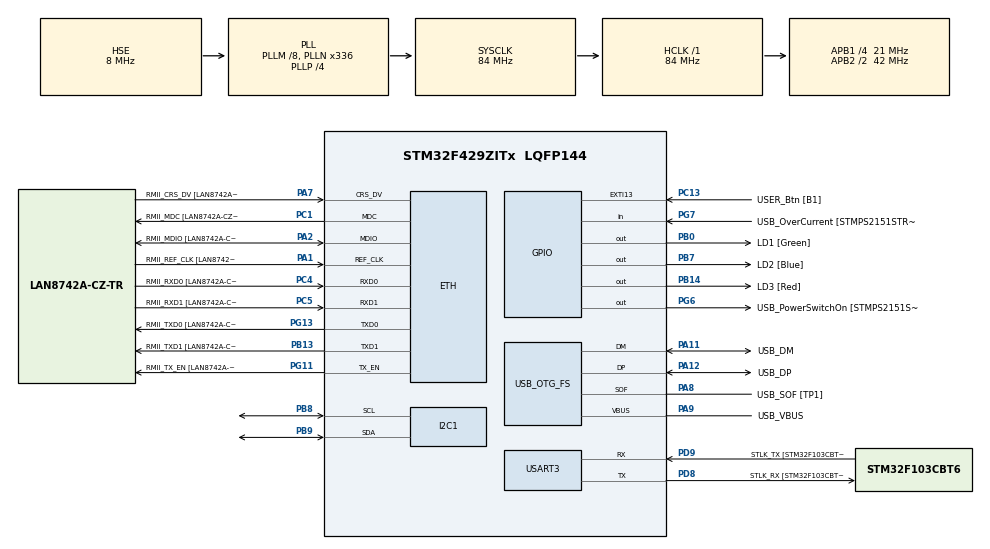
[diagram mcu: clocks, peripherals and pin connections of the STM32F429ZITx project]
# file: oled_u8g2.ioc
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Dma.I2C1_RX.1.Direction=DMA_PERIPH_TO_MEMORY
Dma.I2C1_RX.1.FIFOMode=DMA_FIFOMODE_DISABLE
Dma.I2C1_RX.1.Instance=DMA1_Stream5
Dma.I2C1_RX.1.MemDataAlignment=DMA_MDATAALIGN_BYTE
Dma.I2C1_RX.1.MemInc=DMA_MINC_ENABLE
Dma.I2C1_RX.1.Mode=DMA_NORMAL
Dma.I2C1_RX.1.PeriphDataAlignment=DMA_PDATAALIGN_BYTE
Dma.I2C1_RX.1.PeriphInc=DMA_PINC_DISABLE
Dma.I2C1_RX.1.Priority=DMA_PRIORITY_LOW
Dma.I2C1_TX.0.Direction=DMA_MEMORY_TO_PERIPH
Dma.I2C1_TX.0.FIFOMode=DMA_FIFOMODE_DISABLE
Dma.I2C1_TX.0.Instance=DMA1_Stream7
Dma.I2C1_TX.0.MemDataAlignment=DMA_MDATAALIGN_BYTE
Dma.I2C1_TX.0.MemInc=DMA_MINC_ENABLE
Dma.I2C1_TX.0.Mode=DMA_NORMAL
Dma.I2C1_TX.0.PeriphDataAlignment=DMA_PDATAALIGN_BYTE
Dma.I2C1_TX.0.PeriphInc=DMA_PINC_DISABLE
Dma.I2C1_TX.0.Priority=DMA_PRIORITY_LOW
Dma.Request0=I2C1_TX
Dma.Request1=I2C1_RX
ETH.MediaInterface=HAL_ETH_RMII_MODE
ETH.PHY_Name=LAN8742A_PHY_ADDRESS
ETH.PHY_Value=0
ETH.PhyAddress=0
I2C1.I2C_Mode=I2C_Fast
Mcu.Family=STM32F4
Mcu.Name=STM32F429ZITx
Mcu.Package=LQFP144
NVIC.DMA1_Stream5_IRQn=true\:0\:0\:false\:false\:true\:false\:true\:true
NVIC.DMA1_Stream7_IRQn=true\:0\:0\:false\:false\:true\:false\:true\:true
NVIC.I2C1_ER_IRQn=true\:0\:0\:false\:false\:true\:true\:true\:true
NVIC.I2C1_EV_IRQn=true\:0\:0\:false\:false\:true\:true\:true\:true
NVIC.PriorityGroup=NVIC_PRIORITYGROUP_4
PA1.GPIO_Label=RMII_REF_CLK [LAN8742A-CZ-TR_REFCLK0]
PA1.Mode=RMII
PA1.Signal=ETH_REF_CLK
PA10.GPIO_Label=USB_ID
PA10.Signal=USB_OTG_FS_ID
PA11.GPIO_Label=USB_DM
PA11.Mode=Device_Only
PA11.Signal=USB_OTG_FS_DM
PA12.GPIO_Label=USB_DP
PA12.Mode=Device_Only
PA12.Signal=USB_OTG_FS_DP
PA13.GPIO_Label=TMS
PA13.Mode=Serial_Wire
PA13.Signal=SYS_JTMS-SWDIO
PA14.GPIO_Label=TCK
PA14.Mode=Serial_Wire
PA14.Signal=SYS_JTCK-SWCLK
PA2.GPIO_Label=RMII_MDIO [LAN8742A-CZ-TR_MDIO]
PA2.Mode=RMII
PA2.Signal=ETH_MDIO
PA7.GPIO_Label=RMII_CRS_DV [LAN8742A-CZ-TR_CRS_DV]
PA7.Mode=RMII
PA7.Signal=ETH_CRS_DV
PA8.GPIO_Label=USB_SOF [TP1]
PA8.Mode=Activate_SOF_FS
PA8.Signal=USB_OTG_FS_SOF
PA9.GPIO_Label=USB_VBUS
PA9.Mode=Activate_VBUS
PA9.Signal=USB_OTG_FS_VBUS
PB0.GPIO_Label=LD1 [Green]
PB0.Signal=GPIO_Output
PB13.GPIO_Label=RMII_TXD1 [LAN8742A-CZ-TR_TXD1]
PB13.Mode=RMII
PB13.Signal=ETH_TXD1
PB14.GPIO_Label=LD3 [Red]
PB14.Signal=GPIO_Output
PB7.GPIO_Label=LD2 [Blue]
PB7.Signal=GPIO_Output
PB8.Mode=I2C
PB8.Signal=I2C1_SCL
PB9.Mode=I2C
PB9.Signal=I2C1_SDA
PC1.GPIO_Label=RMII_MDC [LAN8742A-CZ-TR_MDC]
PC1.Mode=RMII
PC1.Signal=ETH_MDC
PC13.GPIO_Label=USER_Btn [B1]
PC13.Signal=GPXTI13
PC14/OSC32_IN.Mode=LSE-External-Oscillator
PC14/OSC32_IN.Signal=RCC_OSC32_IN
PC15/OSC32_OUT.Mode=LSE-External-Oscillator
PC15/OSC32_OUT.Signal=RCC_OSC32_OUT
PC4.GPIO_Label=RMII_RXD0 [LAN8742A-CZ-TR_RXD0]
PC4.Mode=RMII
PC4.Signal=ETH_RXD0
PC5.GPIO_Label=RMII_RXD1 [LAN8742A-CZ-TR_RXD1]
PC5.Mode=RMII
PC5.Signal=ETH_RXD1
PD8.GPIO_Label=STLK_RX [STM32F103CBT6_PA3]
PD8.Mode=Asynchronous
PD8.Signal=USART3_TX
PD9.GPIO_Label=STLK_TX [STM32F103CBT6_PA2]
PD9.Mode=Asynchronous
PD9.Signal=USART3_RX
PG11.GPIO_Label=RMII_TX_EN [LAN8742A-CZ-TR_TXEN]
PG11.Mode=RMII
PG11.Signal=ETH_TX_EN
PG13.GPIO_Label=RMII_TXD0 [LAN8742A-CZ-TR_TXD0]
PG13.Mode=RMII
PG13.Signal=ETH_TXD0
PG6.GPIO_Label=USB_PowerSwitchOn [STMPS2151STR_EN]
PG6.Signal=GPIO_Output
PG7.GPIO_Label=USB_OverCurrent [STMPS2151STR_FAULT]
PG7.Signal=GPIO_Input
PH0/OSC_IN.GPIO_Label=MCO [STM32F103CBT6_PA8]
PH0/OSC_IN.Mode=HSE-External-Clock-Source
PH0/OSC_IN.Signal=RCC_OSC_IN
PH1/OSC_OUT.Mode=HSE-External-Clock-Source
PH1/OSC_OUT.Signal=RCC_OSC_OUT
ProjectManager.HeapSize=0x200
ProjectManager.StackSize=0x400
ProjectManager.TargetToolchain=STM32CubeIDE
RCC.48MHZClocksFreq_Value=48000000
RCC.AHBFreq_Value=84000000
RCC.APB1CLKDivider=RCC_HCLK_DIV4
RCC.APB1Freq_Value=21000000
RCC.APB1TimFreq_Value=42000000
RCC.APB2CLKDivider=RCC_HCLK_DIV2
RCC.APB2Freq_Value=42000000
RCC.APB2TimCLKDivider=2
RCC.APB2TimFreq_Value=84000000
RCC.CortexFreq_Value=84000000
RCC.HCLKFreq_Value=84000000
RCC.HSE_VALUE=8000000
RCC.HSI_VALUE=16000000
RCC.PLLM=8
RCC.PLLMUL=RCC_PLL_MUL9
RCC.PLLN=336
RCC.PLLP=RCC_PLLP_DIV4
RCC.PLLQ=7
RCC.PRESCALERUSB=RCC_USBCLKSOURCE_PLL_DIV1_5
RCC.SYSCLKFreq_VALUE=84000000
RCC.SYSCLKSource=RCC_SYSCLKSOURCE_PLLCLK
RCC.SYSCLKSourceVirtual=RCC_SYSCLKSOURCE_PLLCLK
RCC.USBFreq_Value=48000000
RCC.VCOOutputFreq_Value=336000000
USART3.VirtualMode=VM_ASYNC
USB_OTG_FS.VirtualMode=Device_Only
board=NUCLEO-F429ZI

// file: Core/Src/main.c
/* USER CODE BEGIN Header */
/**
  ******************************************************************************
  * @file           : main.c
  * @brief          : Main program body
  ******************************************************************************
  * @attention
  *
  * Copyright (c) 2023 STMicroelectronics.
  * All rights reserved.
  *
  * This software is licensed under terms that can be found in the LICENSE file
  * in the root directory of this software component.
  * If no LICENSE file comes with this software, it is provided AS-IS.
  *
  ******************************************************************************
  */
/* USER CODE END Header */
#include "main.h"
#include "string.h"

/* USER CODE BEGIN Includes */
#include "u8g2.h"
#include "u8x8.h"
#include "u8g2_stm32.h"
#include <stdio.h>

/* USER CODE END Includes */

ETH_TxPacketConfig TxConfig;
ETH_DMADescTypeDef  DMARxDscrTab[ETH_RX_DESC_CNT]; /* Ethernet Rx DMA Descriptors */
ETH_DMADescTypeDef  DMATxDscrTab[ETH_TX_DESC_CNT]; /* Ethernet Tx DMA Descriptors */

ETH_HandleTypeDef heth;

I2C_HandleTypeDef hi2c1;
DMA_HandleTypeDef hdma_i2c1_tx;
DMA_HandleTypeDef hdma_i2c1_rx;

UART_HandleTypeDef huart3;

PCD_HandleTypeDef hpcd_USB_OTG_FS;

/* USER CODE BEGIN PV */
u8g2_t u8g2;
/* USER CODE END PV */

void SystemClock_Config(void);
static void MX_GPIO_Init(void);
static void MX_DMA_Init(void);
static void MX_ETH_Init(void);
static void MX_USART3_UART_Init(void);
static void MX_USB_OTG_FS_PCD_Init(void);
static void MX_I2C1_Init(void);

int main(void)
{
  /* USER CODE BEGIN 1 */
int32_t i = 0;
int8_t str[32];
  /* USER CODE END 1 */

  /* MCU Configuration--------------------------------------------------------*/

  /* Reset of all peripherals, Initializes the Flash interface and the Systick. */
  HAL_Init();

  /* Configure the system clock */
  SystemClock_Config();

  /* Initialize all configured peripherals */
  MX_GPIO_Init();
  MX_DMA_Init();
  MX_ETH_Init();
  MX_USART3_UART_Init();
  MX_USB_OTG_FS_PCD_Init();
  MX_I2C1_Init();
  /* USER CODE BEGIN 2 */
u8g2stm32_init(&u8g2);
  /* USER CODE END 2 */

  /* Infinite loop */
  while (1)
  {

    /* USER CODE BEGIN 3 */
	  u8g2_ClearBuffer(&u8g2);
	  u8g2_SetFontMode(&u8g2, 1);
	  u8g2_SetFontDirection(&u8g2, 0);

	  u8g2_SetFont(&u8g2, u8g2_font_cu12_hf);
	  u8g2_DrawStr(&u8g2, 5, 15, "Hello OLED");

	  u8g2_SetFont(&u8g2, u8g2_font_unifont_t_korean1);
	  u8g2_DrawUTF8(&u8g2, 5 , 35 ,"안녕 하세요");

	  sprintf(str, "%d", i++);
	  u8g2_DrawStr(&u8g2, 5 , 55, str);
	  u8g2_SendBuffer(&u8g2);
	  HAL_Delay(1000);
  }
  /* USER CODE END 3 */
}

void SystemClock_Config(void)
{
  RCC_OscInitTypeDef RCC_OscInitStruct = {0};
  RCC_ClkInitTypeDef RCC_ClkInitStruct = {0};

  /** Configure the main internal regulator output voltage
  */
  __HAL_RCC_PWR_CLK_ENABLE();
  __HAL_PWR_VOLTAGESCALING_CONFIG(PWR_REGULATOR_VOLTAGE_SCALE3);

  /** Initializes the RCC Oscillators according to the specified parameters
  * in the RCC_OscInitTypeDef structure.
  */
  RCC_OscInitStruct.OscillatorType = RCC_OSCILLATORTYPE_HSE;
  RCC_OscInitStruct.HSEState = RCC_HSE_BYPASS;
  RCC_OscInitStruct.PLL.PLLState = RCC_PLL_ON;
  RCC_OscInitStruct.PLL.PLLSource = RCC_PLLSOURCE_HSE;
  RCC_OscInitStruct.PLL.PLLM = 8;
  RCC_OscInitStruct.PLL.PLLN = 336;
  RCC_OscInitStruct.PLL.PLLP = RCC_PLLP_DIV4;
  RCC_OscInitStruct.PLL.PLLQ = 7;
  if (HAL_RCC_OscConfig(&RCC_OscInitStruct) != HAL_OK)
  {
    Error_Handler();
  }

  /** Initializes the CPU, AHB and APB buses clocks
  */
  RCC_ClkInitStruct.ClockType = RCC_CLOCKTYPE_HCLK|RCC_CLOCKTYPE_SYSCLK
                              |RCC_CLOCKTYPE_PCLK1|RCC_CLOCKTYPE_PCLK2;
  RCC_ClkInitStruct.SYSCLKSource = RCC_SYSCLKSOURCE_PLLCLK;
  RCC_ClkInitStruct.AHBCLKDivider = RCC_SYSCLK_DIV1;
  RCC_ClkInitStruct.APB1CLKDivider = RCC_HCLK_DIV4;
  RCC_ClkInitStruct.APB2CLKDivider = RCC_HCLK_DIV2;

  if (HAL_RCC_ClockConfig(&RCC_ClkInitStruct, FLASH_LATENCY_2) != HAL_OK)
  {
    Error_Handler();
  }
}

static void MX_ETH_Init(void)
{

   static uint8_t MACAddr[6];

  heth.Instance = ETH;
  MACAddr[0] = 0x00;
  MACAddr[1] = 0x80;
  MACAddr[2] = 0xE1;
  MACAddr[3] = 0x00;
  MACAddr[4] = 0x00;
  MACAddr[5] = 0x00;
  heth.Init.MACAddr = &MACAddr[0];
  heth.Init.MediaInterface = HAL_ETH_RMII_MODE;
  heth.Init.TxDesc = DMATxDscrTab;
  heth.Init.RxDesc = DMARxDscrTab;
  heth.Init.RxBuffLen = 1524;

  if (HAL_ETH_Init(&heth) != HAL_OK)
  {
    Error_Handler();
  }

  memset(&TxConfig, 0 , sizeof(ETH_TxPacketConfig));
  TxConfig.Attributes = ETH_TX_PACKETS_FEATURES_CSUM | ETH_TX_PACKETS_FEATURES_CRCPAD;
  TxConfig.ChecksumCtrl = ETH_CHECKSUM_IPHDR_PAYLOAD_INSERT_PHDR_CALC;
  TxConfig.CRCPadCtrl = ETH_CRC_PAD_INSERT;

}

static void MX_I2C1_Init(void)
{

  hi2c1.Instance = I2C1;
  hi2c1.Init.ClockSpeed = 400000;
  hi2c1.Init.DutyCycle = I2C_DUTYCYCLE_2;
  hi2c1.Init.OwnAddress1 = 0;
  hi2c1.Init.AddressingMode = I2C_ADDRESSINGMODE_7BIT;
  hi2c1.Init.DualAddressMode = I2C_DUALADDRESS_DISABLE;
  hi2c1.Init.OwnAddress2 = 0;
  hi2c1.Init.GeneralCallMode = I2C_GENERALCALL_DISABLE;
  hi2c1.Init.NoStretchMode = I2C_NOSTRETCH_DISABLE;
  if (HAL_I2C_Init(&hi2c1) != HAL_OK)
  {
    Error_Handler();
  }

  /** Configure Analogue filter
  */
  if (HAL_I2CEx_ConfigAnalogFilter(&hi2c1, I2C_ANALOGFILTER_ENABLE) != HAL_OK)
  {
    Error_Handler();
  }

  /** Configure Digital filter
  */
  if (HAL_I2CEx_ConfigDigitalFilter(&hi2c1, 0) != HAL_OK)
  {
    Error_Handler();
  }

}

static void MX_USART3_UART_Init(void)
{

  huart3.Instance = USART3;
  huart3.Init.BaudRate = 115200;
  huart3.Init.WordLength = UART_WORDLENGTH_8B;
  huart3.Init.StopBits = UART_STOPBITS_1;
  huart3.Init.Parity = UART_PARITY_NONE;
  huart3.Init.Mode = UART_MODE_TX_RX;
  huart3.Init.HwFlowCtl = UART_HWCONTROL_NONE;
  huart3.Init.OverSampling = UART_OVERSAMPLING_16;
  if (HAL_UART_Init(&huart3) != HAL_OK)
  {
    Error_Handler();
  }

}

static void MX_USB_OTG_FS_PCD_Init(void)
{

  hpcd_USB_OTG_FS.Instance = USB_OTG_FS;
  hpcd_USB_OTG_FS.Init.dev_endpoints = 4;
  hpcd_USB_OTG_FS.Init.speed = PCD_SPEED_FULL;
  hpcd_USB_OTG_FS.Init.dma_enable = DISABLE;
  hpcd_USB_OTG_FS.Init.phy_itface = PCD_PHY_EMBEDDED;
  hpcd_USB_OTG_FS.Init.Sof_enable = ENABLE;
  hpcd_USB_OTG_FS.Init.low_power_enable = DISABLE;
  hpcd_USB_OTG_FS.Init.lpm_enable = DISABLE;
  hpcd_USB_OTG_FS.Init.vbus_sensing_enable = ENABLE;
  hpcd_USB_OTG_FS.Init.use_dedicated_ep1 = DISABLE;
  if (HAL_PCD_Init(&hpcd_USB_OTG_FS) != HAL_OK)
  {
    Error_Handler();
  }

}

static void MX_DMA_Init(void)
{

  /* DMA controller clock enable */
  __HAL_RCC_DMA1_CLK_ENABLE();

  /* DMA interrupt init */
  /* DMA1_Stream5_IRQn interrupt configuration */
  HAL_NVIC_SetPriority(DMA1_Stream5_IRQn, 0, 0);
  HAL_NVIC_EnableIRQ(DMA1_Stream5_IRQn);
  /* DMA1_Stream7_IRQn interrupt configuration */
  HAL_NVIC_SetPriority(DMA1_Stream7_IRQn, 0, 0);
  HAL_NVIC_EnableIRQ(DMA1_Stream7_IRQn);

}

static void MX_GPIO_Init(void)
{
  GPIO_InitTypeDef GPIO_InitStruct = {0};

  /* GPIO Ports Clock Enable */
  __HAL_RCC_GPIOC_CLK_ENABLE();
  __HAL_RCC_GPIOH_CLK_ENABLE();
  __HAL_RCC_GPIOA_CLK_ENABLE();
  __HAL_RCC_GPIOB_CLK_ENABLE();
  __HAL_RCC_GPIOD_CLK_ENABLE();
  __HAL_RCC_GPIOG_CLK_ENABLE();

  /*Configure GPIO pin Output Level */
  HAL_GPIO_WritePin(GPIOB, LD1_Pin|LD3_Pin|LD2_Pin, GPIO_PIN_RESET);

  /*Configure GPIO pin Output Level */
  HAL_GPIO_WritePin(USB_PowerSwitchOn_GPIO_Port, USB_PowerSwitchOn_Pin, GPIO_PIN_RESET);

  /*Configure GPIO pin : USER_Btn_Pin */
  GPIO_InitStruct.Pin = USER_Btn_Pin;
  GPIO_InitStruct.Mode = GPIO_MODE_IT_RISING;
  GPIO_InitStruct.Pull = GPIO_NOPULL;
  HAL_GPIO_Init(USER_Btn_GPIO_Port, &GPIO_InitStruct);

  /*Configure GPIO pins : LD1_Pin LD3_Pin LD2_Pin */
  GPIO_InitStruct.Pin = LD1_Pin|LD3_Pin|LD2_Pin;
  GPIO_InitStruct.Mode = GPIO_MODE_OUTPUT_PP;
  GPIO_InitStruct.Pull = GPIO_NOPULL;
  GPIO_InitStruct.Speed = GPIO_SPEED_FREQ_LOW;
  HAL_GPIO_Init(GPIOB, &GPIO_InitStruct);

  /*Configure GPIO pin : USB_PowerSwitchOn_Pin */
  GPIO_InitStruct.Pin = USB_PowerSwitchOn_Pin;
  GPIO_InitStruct.Mode = GPIO_MODE_OUTPUT_PP;
  GPIO_InitStruct.Pull = GPIO_NOPULL;
  GPIO_InitStruct.Speed = GPIO_SPEED_FREQ_LOW;
  HAL_GPIO_Init(USB_PowerSwitchOn_GPIO_Port, &GPIO_InitStruct);

  /*Configure GPIO pin : USB_OverCurrent_Pin */
  GPIO_InitStruct.Pin = USB_OverCurrent_Pin;
  GPIO_InitStruct.Mode = GPIO_MODE_INPUT;
  GPIO_InitStruct.Pull = GPIO_NOPULL;
  HAL_GPIO_Init(USB_OverCurrent_GPIO_Port, &GPIO_InitStruct);

}

void Error_Handler(void)
{
  __disable_irq();
  while (1)
  {
  }
}
